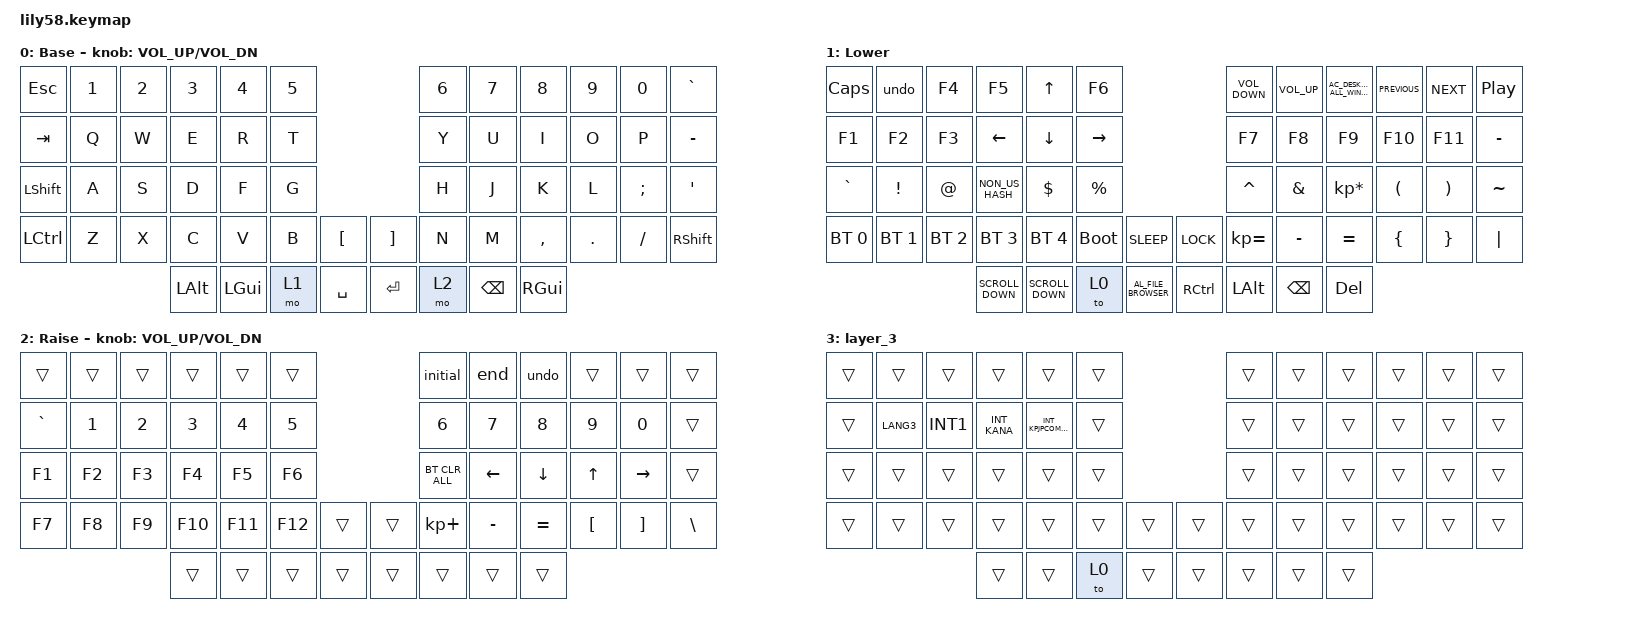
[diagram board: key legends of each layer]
/*
 * Copyright (c) 2020 The ZMK Contributors
 *
 * SPDX-License-Identifier: MIT
 */

#include <behaviors.dtsi>
#include <dt-bindings/zmk/bt.h>
#include <dt-bindings/zmk/keys.h>

/ {
    macros {
        initial: new_macro {
            compatible = "zmk,behavior-macro";
            #binding-cells = <0>;
            bindings = <&none &kp LS(T) &kp H &kp A &kp N &kp K &kp SPACE &kp Y &kp O &kp U &kp SPACE &kp F &kp O &kp R &kp SPACE &kp C &kp O &kp N &kp T &kp A &kp C &kp T &kp I &kp N &kp G &kp SPACE &kp T &kp H &kp E &kp SPACE &kp LS(N) &kp A &kp T &kp I &kp O &kp N &kp A &kp L &kp SPACE &kp LS(S) &kp T &kp A &kp N &kp D &kp A &kp R &kp D &kp I &kp S &kp E &kp D &kp SPACE &kp LS(A) &kp S &kp S &kp E &kp S &kp S &kp M &kp E &kp N &kp T &kp S &kp SPACE &kp F &kp O &kp R &kp SPACE &kp LS(S) &kp C &kp O &kp T &kp L &kp A &kp N &kp D &kp SPACE &kp LPAR &kp LS(N) &kp LS(S) &kp LS(A) &kp RPAR &kp SPACE &kp S &kp E &kp R &kp V &kp I &kp C &kp E &kp SPACE &kp D &kp E &kp S &kp K &kp SPACE &kp W &kp I &kp T &kp H &kp SPACE &kp Y &kp O &kp U &kp R &kp SPACE &kp Q &kp U &kp E &kp R &kp Y &kp DOT>;
            label = "NEW_MACRO";
        };

        end: end {
            compatible = "zmk,behavior-macro";
            #binding-cells = <0>;
            bindings = <&none &kp LS(I) &kp SPACE &kp H &kp O &kp P &kp E &kp SPACE &kp T &kp H &kp I &kp S &kp SPACE &kp I &kp S &kp SPACE &kp H &kp E &kp L &kp P &kp F &kp U &kp L &kp COMMA &kp SPACE &kp P &kp L &kp E &kp A &kp S &kp E &kp SPACE &kp F &kp E &kp E &kp L &kp SPACE &kp F &kp R &kp E &kp E &kp SPACE &kp T &kp O &kp SPACE &kp C &kp O &kp N &kp T &kp A &kp C &kp T &kp SPACE &kp T &kp H &kp E &kp SPACE &kp S &kp E &kp R &kp V &kp I &kp C &kp E &kp SPACE &kp D &kp E &kp S &kp K &kp SPACE &kp W &kp I &kp T &kp H &kp SPACE &kp A &kp N &kp Y &kp SPACE &kp F &kp U &kp R &kp T &kp H &kp E &kp R &kp SPACE &kp Q &kp U &kp E &kp S &kp T &kp I &kp O &kp N &kp S &kp DOT>;
            label = "END";
        };

        undo: undo {
            compatible = "zmk,behavior-macro";
            #binding-cells = <0>;
            bindings = <&kp LC(Z)>;
            label = "UNDO";
        };
    };

    keymap {
        compatible = "zmk,keymap";

        default_layer {
            // ------------------------------------------------------------------------------------------------------------
            // |  ESC  |  1  |  2  |  3   |  4   |  5   |                   |  6   |  7    |  8    |  9   |   0   |   `   |
            // |  TAB  |  Q  |  W  |  E   |  R   |  T   |                   |  Y   |  U    |  I    |  O   |   P   |   -   |
            // |  CTRL |  A  |  S  |  D   |  F   |  G   |                   |  H   |  J    |  K    |  L   |   ;   |   '   |
            // | SHIFT |  Z  |  X  |  C   |  V   |  B   |   "["  |  |  "]"  |  N   |  M    |  ,    |  .   |   /   | SHIFT |
            //                     | ALT  | GUI  | LOWER|  SPACE |  | ENTER | RAISE| BSPC  | GUI   |

            display-name = "Base";
            bindings = <
&kp ESC    &kp N1  &kp N2  &kp N3    &kp N4    &kp N5                          &kp N6  &kp N7    &kp N8     &kp N9   &kp N0    &kp GRAVE
&kp TAB    &kp Q   &kp W   &kp E     &kp R     &kp T                           &kp Y   &kp U     &kp I      &kp O    &kp P     &kp MINUS
&kp LSHFT  &kp A   &kp S   &kp D     &kp F     &kp G                           &kp H   &kp J     &kp K      &kp L    &kp SEMI  &kp SQT
&kp LCTRL  &kp Z   &kp X   &kp C     &kp V     &kp B   &kp LBKT     &kp RBKT   &kp N   &kp M     &kp COMMA  &kp DOT  &kp FSLH  &kp RSHFT
                           &kp LALT  &kp LGUI  &mo 1   &kp SPACE    &kp ENTER  &mo 2   &kp BSPC  &kp RGUI
            >;

            sensor-bindings = <&inc_dec_kp C_VOL_UP C_VOL_DN>;
        };

        lower_layer {
            // ------------------------------------------------------------------------------------------------------------
            // | BTCLR | BT1 | BT2 |  BT3 |  BT4 |  BT5 |                   |      |       |       |      |       |       |
            // |  F1   |  F2 |  F3 |  F4  |  F5  |  F6  |                   |  F7  |  F8   |  F9   |  F10 |  F11  |  F12  |
            // |   `   |  !  |  @  |  #   |  $   |  %   |                   |  ^   |  &    |  *    |  (   |   )   |   ~   |
            // |       |     |     |      |      |      |        |  |       |      |  _    |  +    |  {   |   }   |  "|"  |
            //                     |      |      |      |        |  |       |      |       |       |

            display-name = "Lower";
            bindings = <
&kp CAPS      &undo         &kp F4        &kp F5             &kp UP_ARROW       &kp F6                                                   &kp C_VOLUME_DOWN  &kp C_VOL_UP   &kp C_AC_DESKTOP_SHOW_ALL_WINDOWS  &kp C_PREVIOUS  &kp C_NEXT  &kp C_PLAY_PAUSE
&kp F1        &kp F2        &kp F3        &kp LEFT           &kp DOWN           &kp RIGHT                                                &kp F7             &kp F8         &kp F9                             &kp F10         &kp F11     &kp MINUS
&kp GRAVE     &kp EXCL      &kp AT        &kp NON_US_HASH    &kp DOLLAR         &kp PRCNT                                                &kp CARET          &kp AMPS       &kp KP_MULTIPLY                    &kp LPAR        &kp RPAR    &kp TILDE
&bt BT_SEL 0  &bt BT_SEL 1  &bt BT_SEL 2  &bt BT_SEL 3       &bt BT_SEL 4       &bootloader  &kp K_SLEEP              &kp K_LOCK         &kp KP_EQUAL       &kp MINUS      &kp EQUAL                          &kp LBRC        &kp RBRC    &kp PIPE
                                          &kp K_SCROLL_DOWN  &kp K_SCROLL_DOWN  &to 0        &kp C_AL_FILE_BROWSER    &kp RIGHT_CONTROL  &kp LEFT_ALT       &kp BACKSPACE  &kp DELETE
            >;
        };

        raise_layer {
            // ------------------------------------------------------------------------------------------------------------
            // |       |     |     |      |      |      |                   |      |       |       |      |       |       |
            // |   `   |  1  |  2  |  3   |  4   |  5   |                   |  6   |   7   |   8   |  9   |   0   |       |
            // |   F1  |  F2 |  F3 |  F4  |  F5  |  F6  |                   |      |   <-  |   v   |  ^   |  ->   |       |
            // |   F7  |  F8 |  F9 |  F10 |  F11 |  F12 |        |  |       |  +   |   -   |   =   |  [   |   ]   |   \   |
            //                     |      |      |      |        |  |       |      |       |       |

            display-name = "Raise";
            bindings = <
&trans     &trans  &trans  &trans   &trans   &trans                     &initial        &end       &undo      &trans    &trans     &trans
&kp GRAVE  &kp N1  &kp N2  &kp N3   &kp N4   &kp N5                     &kp N6          &kp N7     &kp N8     &kp N9    &kp N0     &trans
&kp F1     &kp F2  &kp F3  &kp F4   &kp F5   &kp F6                     &bt BT_CLR_ALL  &kp LEFT   &kp DOWN   &kp UP    &kp RIGHT  &trans
&kp F7     &kp F8  &kp F9  &kp F10  &kp F11  &kp F12  &trans    &trans  &kp KP_PLUS     &kp MINUS  &kp EQUAL  &kp LBKT  &kp RBKT   &kp BSLH
                           &trans   &trans   &trans   &trans    &trans  &trans          &trans     &trans
            >;

            sensor-bindings = <&inc_dec_kp C_VOL_UP C_VOL_DN>;
        };

        layer_3 {
            bindings = <
&trans  &trans     &trans    &trans        &trans             &trans                    &trans  &trans  &trans  &trans  &trans  &trans
&trans  &kp LANG3  &kp INT1  &kp INT_KANA  &kp INT_KPJPCOMMA  &trans                    &trans  &trans  &trans  &trans  &trans  &trans
&trans  &trans     &trans    &trans        &trans             &trans                    &trans  &trans  &trans  &trans  &trans  &trans
&trans  &trans     &trans    &trans        &trans             &trans  &trans    &trans  &trans  &trans  &trans  &trans  &trans  &trans
                             &trans        &trans             &to 0   &trans    &trans  &trans  &trans  &trans
            >;
        };
    };
};
